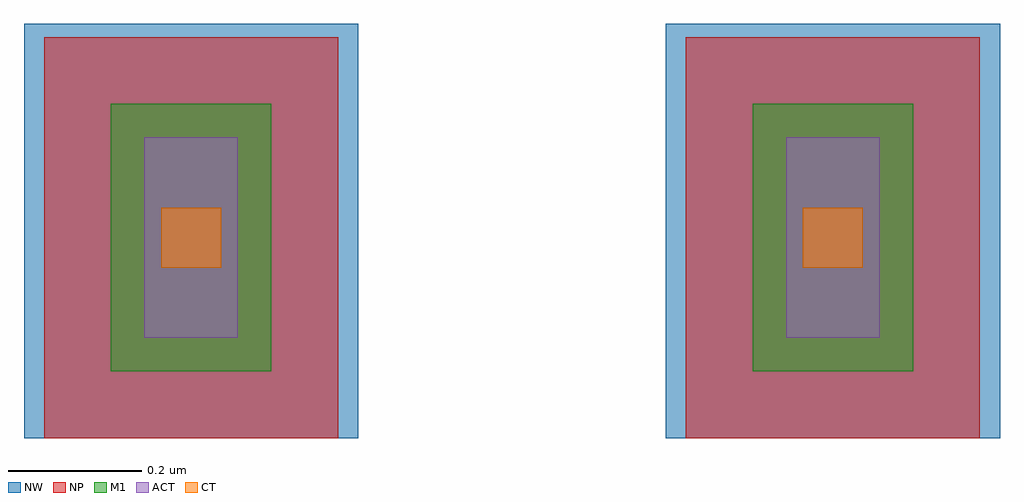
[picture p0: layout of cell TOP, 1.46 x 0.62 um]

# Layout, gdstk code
import gdstk
lib = gdstk.Library(unit=1e-6, precision=1e-09)
def R(c, l, rs):  # rectangles x0, y0, x1, y1
    for r in rs: c.add(gdstk.rectangle(r[:2], r[2:], *l))
ACT = (2, 1)
NW = (9, 1)
NP = (52, 1)
CT = (72, 1)
M1 = (81, 1)

top = lib.new_cell('TOP')
R(top, ACT, [(0.18,0.15,0.32,0.45), (1.14,0.15,1.28,0.45)])
R(top, NW, [(0,0,0.5,0.62), (0.96,0,1.46,0.62)])
R(top, NP, [(0.03,0,0.47,0.6), (0.99,0,1.43,0.6)])
R(top, CT, [(0.205,0.255,0.295,0.345), (1.165,0.255,1.255,0.345)])
R(top, M1, [(0.13,0.1,0.37,0.5), (1.09,0.1,1.33,0.5)])

lib.write_gds('TOP.gds')
